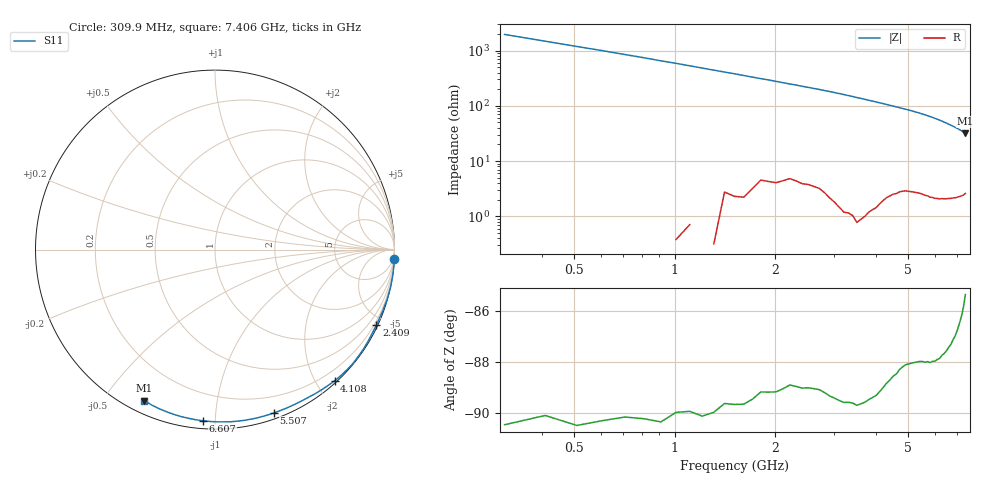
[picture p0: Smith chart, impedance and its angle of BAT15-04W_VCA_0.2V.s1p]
! Infineon Technologies  Discrete & RF Semiconductors
! BAT15-04W-E6327
! VCA = 0.2 V
! One-Port S-Parameters
# Hz  S  MA  R  50
!f  S11
!Hz  Mag  Ang
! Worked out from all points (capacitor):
!   72 points, 309.9 MHz to 7.406 GHz, reference 50 ohm
!   read as one part to ground: C = 263 fF near 309.9 MHz
!   lowest |Z| = 31.9 ohm at 7.406 GHz (marker M1)
!   S11 on the Smith chart (normalised r, x): 309.9 MHz: -0, -39; 2.409 GHz: 0.08, -4.51; 4.108 GHz: 0.03, -2.26; 5.507 GHz: 0.05, -1.42; 6.607 GHz: 0.04, -0.93; 7.406 GHz: 0.05, -0.64
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3.0985e8  1 -2.9
8.096e8  1 -7.7
1.2094e9  1 -11.8
1.6092e9  0.9983 -16.1
2.10895e9  0.9938 -21.6
2.30885e9  0.9926 -23.7
2.4088e9  0.9927 -25.0
2.70865e9  0.9923 -28.4
3.0085e9  0.9945 -32.1
3.2084e9  0.9958 -34.7
3.4083e9  0.9958 -37.5
3.6082e9  0.9958 -40.3
3.90805e9  0.9924 -44.7
4.10795e9  0.989 -47.6
4.6077e9  0.978 -55.2
4.8076e9  0.9733 -58.3
5.2074e9  0.969 -64.8
5.4073e9  0.9676 -68.3
5.50725e9  0.9671 -70.2
5.70715e9  0.9665 -74.0
6.007e9  0.9654 -80.2
6.2069e9  0.9632 -84.7
6.4068e9  0.9598 -89.3
6.6067e9  0.9558 -94.1
6.8066e9  0.9514 -99.1
7.0065e9  0.9462 -104.1
7.2064e9  0.9394 -109.5
7.4063e9  0.9289 -115.0
